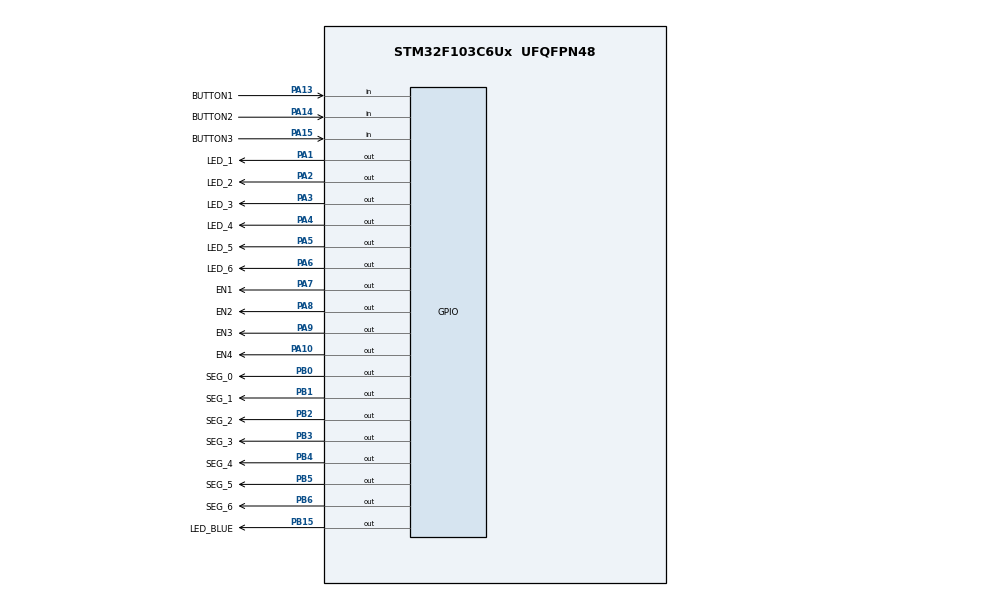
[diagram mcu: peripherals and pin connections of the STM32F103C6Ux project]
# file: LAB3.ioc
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Mcu.Family=STM32F1
Mcu.Name=STM32F103C6Ux
Mcu.Package=UFQFPN48
NVIC.PriorityGroup=NVIC_PRIORITYGROUP_4
NVIC.TIM2_IRQn=true\:0\:0\:false\:false\:true\:true\:true
PA1.GPIO_Label=LED_1
PA1.Signal=GPIO_Output
PA10.GPIO_Label=EN4
PA10.Signal=GPIO_Output
PA13.GPIO_Label=BUTTON1
PA13.GPIO_PuPd=GPIO_PULLUP
PA13.Signal=GPIO_Input
PA14.GPIO_Label=BUTTON2
PA14.GPIO_PuPd=GPIO_PULLUP
PA14.Signal=GPIO_Input
PA15.GPIO_Label=BUTTON3
PA15.GPIO_PuPd=GPIO_PULLUP
PA15.Signal=GPIO_Input
PA2.GPIO_Label=LED_2
PA2.Signal=GPIO_Output
PA3.GPIO_Label=LED_3
PA3.Signal=GPIO_Output
PA4.GPIO_Label=LED_4
PA4.Signal=GPIO_Output
PA5.GPIO_Label=LED_5
PA5.Signal=GPIO_Output
PA6.GPIO_Label=LED_6
PA6.Signal=GPIO_Output
PA7.GPIO_Label=EN1
PA7.Signal=GPIO_Output
PA8.GPIO_Label=EN2
PA8.Signal=GPIO_Output
PA9.GPIO_Label=EN3
PA9.Signal=GPIO_Output
PB0.GPIO_Label=SEG_0
PB0.Signal=GPIO_Output
PB1.GPIO_Label=SEG_1
PB1.Signal=GPIO_Output
PB15.GPIO_Label=LED_BLUE
PB15.Signal=GPIO_Output
PB2.GPIO_Label=SEG_2
PB2.Signal=GPIO_Output
PB3.GPIO_Label=SEG_3
PB3.Signal=GPIO_Output
PB4.GPIO_Label=SEG_4
PB4.Signal=GPIO_Output
PB5.GPIO_Label=SEG_5
PB5.Signal=GPIO_Output
PB6.GPIO_Label=SEG_6
PB6.Signal=GPIO_Output
ProjectManager.HeapSize=0x200
ProjectManager.StackSize=0x400
ProjectManager.TargetToolchain=STM32CubeIDE
RCC.APB1Freq_Value=8000000
RCC.APB2Freq_Value=8000000
TIM2.Period=9
TIM2.Prescaler=7999
VP_SYS_VS_ND.Mode=No_Debug
VP_TIM2_VS_ClockSourceINT.Mode=Internal
board=custom

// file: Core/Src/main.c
/* USER CODE BEGIN Header */
/**
  ******************************************************************************
  * @file           : main.c
  * @brief          : Main program body
  ******************************************************************************
  * @attention
  *
  * <h2><center>&copy; Copyright (c) 2024 STMicroelectronics.
  * All rights reserved.</center></h2>
  *
  * This software component is licensed by ST under BSD 3-Clause license,
  * the "License"; You may not use this file except in compliance with the
  * License. You may obtain a copy of the License at:
  *                        opensource.org/licenses/BSD-3-Clause
  *
  ******************************************************************************
  */
/* USER CODE END Header */
#include "main.h"

/* USER CODE BEGIN Includes */
#include "global.h"
#include "softwareTimer.h"
#include "fsm_automatic.h"
#include "trafficLights.h"
#include "button.h"
#include "fsm_manual.h"
/* USER CODE END Includes */

TIM_HandleTypeDef htim2;

void SystemClock_Config(void);
static void MX_GPIO_Init(void);
static void MX_TIM2_Init(void);

int main(void)
{

  /* MCU Configuration--------------------------------------------------------*/

  /* Reset of all peripherals, Initializes the Flash interface and the Systick. */
  HAL_Init();

  /* Configure the system clock */
  SystemClock_Config();

  /* Initialize all configured peripherals */
  MX_GPIO_Init();
  MX_TIM2_Init();
  /* USER CODE BEGIN 2 */
  HAL_TIM_Base_Start_IT(&htim2);
  /* USER CODE END 2 */

  /* Infinite loop */
  /* USER CODE BEGIN WHILE */
//  int count = 0; //test
//  setTimerFor7segLed(250);	//test
//  initial();

  setTimer1(1000);
  status = START;
  setTimerFor7segLed(1000);
  setTimerFor1Second(1000);
  while (1)
  {
    /* USER CODE END WHILE */

    /* USER CODE BEGIN 3 */

	  fsm_automatic_run();
	  fsm_manual_run();

	  //==============TEST TIMER=================================
//	  if (oneSecond_flag == 1) {
//		  setTimerFor1Second(1000);
//		  toggleAllLeds();
//		  toggleGreen();
//	  }
	  //==============TEST TIMER=================================

	  //==============TEST 7-SEGMENT LED ========================

//	  if (timer7seg_flag == 1) {
//		  setTimerFor7segLed(250);
//		  if (count >= 10) {
//			  count = 0;
//		  }
//		  display7SEG(count++);
//	  }
	  //==============TEST 7-SEGMENT LED ========================

	  //==============TEST BUTTON=======================

//	  if (isButton3Pressed() || isButton1Pressed() || isButton2Pressed()) {
//		  HAL_GPIO_TogglePin(LED_BLUE_GPIO_Port, LED_BLUE_Pin);
//	  }

	  //==============TEST BUTTON=======================

  }
  /* USER CODE END 3 */
}

void SystemClock_Config(void)
{
  RCC_OscInitTypeDef RCC_OscInitStruct = {0};
  RCC_ClkInitTypeDef RCC_ClkInitStruct = {0};

  /** Initializes the RCC Oscillators according to the specified parameters
  * in the RCC_OscInitTypeDef structure.
  */
  RCC_OscInitStruct.OscillatorType = RCC_OSCILLATORTYPE_HSI;
  RCC_OscInitStruct.HSIState = RCC_HSI_ON;
  RCC_OscInitStruct.HSICalibrationValue = RCC_HSICALIBRATION_DEFAULT;
  RCC_OscInitStruct.PLL.PLLState = RCC_PLL_NONE;
  if (HAL_RCC_OscConfig(&RCC_OscInitStruct) != HAL_OK)
  {
    Error_Handler();
  }
  /** Initializes the CPU, AHB and APB buses clocks
  */
  RCC_ClkInitStruct.ClockType = RCC_CLOCKTYPE_HCLK|RCC_CLOCKTYPE_SYSCLK
                              |RCC_CLOCKTYPE_PCLK1|RCC_CLOCKTYPE_PCLK2;
  RCC_ClkInitStruct.SYSCLKSource = RCC_SYSCLKSOURCE_HSI;
  RCC_ClkInitStruct.AHBCLKDivider = RCC_SYSCLK_DIV1;
  RCC_ClkInitStruct.APB1CLKDivider = RCC_HCLK_DIV1;
  RCC_ClkInitStruct.APB2CLKDivider = RCC_HCLK_DIV1;

  if (HAL_RCC_ClockConfig(&RCC_ClkInitStruct, FLASH_LATENCY_0) != HAL_OK)
  {
    Error_Handler();
  }
}

static void MX_TIM2_Init(void)
{

  TIM_ClockConfigTypeDef sClockSourceConfig = {0};
  TIM_MasterConfigTypeDef sMasterConfig = {0};

  htim2.Instance = TIM2;
  htim2.Init.Prescaler = 7999;
  htim2.Init.CounterMode = TIM_COUNTERMODE_UP;
  htim2.Init.Period = 9;
  htim2.Init.ClockDivision = TIM_CLOCKDIVISION_DIV1;
  htim2.Init.AutoReloadPreload = TIM_AUTORELOAD_PRELOAD_DISABLE;
  if (HAL_TIM_Base_Init(&htim2) != HAL_OK)
  {
    Error_Handler();
  }
  sClockSourceConfig.ClockSource = TIM_CLOCKSOURCE_INTERNAL;
  if (HAL_TIM_ConfigClockSource(&htim2, &sClockSourceConfig) != HAL_OK)
  {
    Error_Handler();
  }
  sMasterConfig.MasterOutputTrigger = TIM_TRGO_RESET;
  sMasterConfig.MasterSlaveMode = TIM_MASTERSLAVEMODE_DISABLE;
  if (HAL_TIMEx_MasterConfigSynchronization(&htim2, &sMasterConfig) != HAL_OK)
  {
    Error_Handler();
  }

}

static void MX_GPIO_Init(void)
{
  GPIO_InitTypeDef GPIO_InitStruct = {0};

  /* GPIO Ports Clock Enable */
  __HAL_RCC_GPIOA_CLK_ENABLE();
  __HAL_RCC_GPIOB_CLK_ENABLE();

  /*Configure GPIO pin Output Level */
  HAL_GPIO_WritePin(GPIOA, LED_1_Pin|LED_2_Pin|LED_3_Pin|LED_4_Pin
                          |LED_5_Pin|LED_6_Pin|EN1_Pin|EN2_Pin
                          |EN3_Pin|EN4_Pin, GPIO_PIN_RESET);

  /*Configure GPIO pin Output Level */
  HAL_GPIO_WritePin(GPIOB, SEG_0_Pin|SEG_1_Pin|SEG_2_Pin|LED_BLUE_Pin
                          |SEG_3_Pin|SEG_4_Pin|SEG_5_Pin|SEG_6_Pin, GPIO_PIN_RESET);

  /*Configure GPIO pins : LED_1_Pin LED_2_Pin LED_3_Pin LED_4_Pin
                           LED_5_Pin LED_6_Pin EN1_Pin EN2_Pin
                           EN3_Pin EN4_Pin */
  GPIO_InitStruct.Pin = LED_1_Pin|LED_2_Pin|LED_3_Pin|LED_4_Pin
                          |LED_5_Pin|LED_6_Pin|EN1_Pin|EN2_Pin
                          |EN3_Pin|EN4_Pin;
  GPIO_InitStruct.Mode = GPIO_MODE_OUTPUT_PP;
  GPIO_InitStruct.Pull = GPIO_NOPULL;
  GPIO_InitStruct.Speed = GPIO_SPEED_FREQ_LOW;
  HAL_GPIO_Init(GPIOA, &GPIO_InitStruct);

  /*Configure GPIO pins : SEG_0_Pin SEG_1_Pin SEG_2_Pin LED_BLUE_Pin
                           SEG_3_Pin SEG_4_Pin SEG_5_Pin SEG_6_Pin */
  GPIO_InitStruct.Pin = SEG_0_Pin|SEG_1_Pin|SEG_2_Pin|LED_BLUE_Pin
                          |SEG_3_Pin|SEG_4_Pin|SEG_5_Pin|SEG_6_Pin;
  GPIO_InitStruct.Mode = GPIO_MODE_OUTPUT_PP;
  GPIO_InitStruct.Pull = GPIO_NOPULL;
  GPIO_InitStruct.Speed = GPIO_SPEED_FREQ_LOW;
  HAL_GPIO_Init(GPIOB, &GPIO_InitStruct);

  /*Configure GPIO pins : BUTTON1_Pin BUTTON2_Pin BUTTON3_Pin */
  GPIO_InitStruct.Pin = BUTTON1_Pin|BUTTON2_Pin|BUTTON3_Pin;
  GPIO_InitStruct.Mode = GPIO_MODE_INPUT;
  GPIO_InitStruct.Pull = GPIO_PULLUP;
  HAL_GPIO_Init(GPIOA, &GPIO_InitStruct);

}

/* USER CODE BEGIN 4 */
void HAL_TIM_PeriodElapsedCallback(TIM_HandleTypeDef *htim)
{
	timerRun();
	getKeyInput();
}
/* USER CODE END 4 */

void Error_Handler(void)
{
  __disable_irq();
  while (1)
  {
  }
}

/************************ (C) COPYRIGHT STMicroelectronics *****END OF FILE****/
